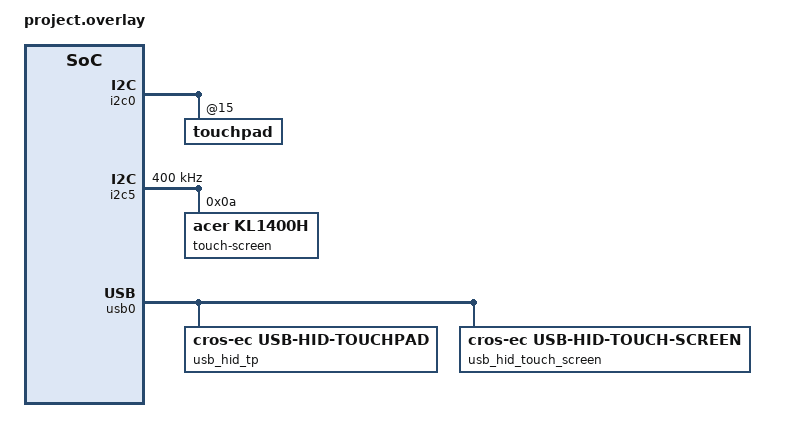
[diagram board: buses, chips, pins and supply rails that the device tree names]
/* Copyright 2024 The ChromiumOS Authors
 * Use of this source code is governed by a BSD-style license that can be
 * found in the LICENSE file.
 */

#include <cros/touchpad_hashes.dtsi>

#include "../gpio.dtsi"
#include "../uart.dtsi"
#include "../i2c.dtsi"
#include "../interrupts.dtsi"
#include "../keyboard.dtsi"
#include "../pwm.dtsi"
#include "../rwsig.dtsi"

&i2c0 {
	touchpad@15 {
		logical-max-x = <2721>;
		logical-max-y = <1291>;
		physical-max-x = <864>;
		physical-max-y = <410>;
	};
};

&i2c5 {
	status = "okay";
	label = "I2C_TOUCH_SCREEN";

	pinctrl-0 = < &i2c5_clk_gpe1_default &i2c5_data_gpe2_default>;
	pinctrl-names = "default";

	clock-frequency = <I2C_BITRATE_FAST>;
	data-hold-time = <10>;

	touch-screen@a {
		compatible = "acer,kl1400h";
		status = "okay";
		reg = <0xa>;
		irq = <&int_touch_screen>;
	};
};

&touchpad_fw_hashes {
	size = <((65536 / 1024) * 32)>;
};


/ {
	aliases {
		usb-hid-tp = &usb_hid_tp;
		usb-hid-touch-screen = &usb_hid_touch_screen;
	};
};

&uart2 {
	status = "disabled";

	one_wire_uart: one-wire-uart {
		status = "disabled";
	};
};

&ite_uart2_wrapper {
	status = "disabled";
};

zephyr_udc0: &usb0 {
	status = "okay";
	pinctrl-0 = <&usb0_dm_gph5_default
		     &usb0_dp_gph6_default>;
	pinctrl-names = "default";

	usb_hid_tp: usb-hid-tp {
		compatible = "cros-ec,usb-hid-touchpad";

		logical-max-x = <2721>;
		logical-max-y = <1291>;
		physical-max-x = <864>;
		physical-max-y = <410>;
		max-pressure = <255>;
	};

	usb_hid_touch_screen: usb-hid-touch-screen {
		compatible = "cros-ec,usb-hid-touch-screen";
		reportid-max-count = <0x1c>; /* TODO: CHECKME */
	};

	hid_kb_dev: hid-kb-dev {
		compatible = "zephyr,hid-device";
		label = "spikyrock keyboard";
		protocol-code = "keyboard";
		out-report-size = <64>;
		out-polling-period-us = <1000>;
		in-report-size = <64>;
		in-polling-period-us = <1000>;
	};

	hid_tp_dev: hid-tp-dev {
		compatible = "zephyr,hid-device";
		label = "spikyrock touchpad";
		protocol-code = "mouse";
		/* device cert (256 bytes) + some overhead */
		out-report-size = <280>;
		out-polling-period-us = <1000>;
		in-report-size = <64>;
		in-polling-period-us = <1000>;
	};

	hid_touch_screen_dev: hid-touch-screen-dev {
		compatible = "zephyr,hid-device";
		label = "spikyrock touch screen";
		protocol-code = "none";
		out-report-size = <64>; /* TODO: CHECK-ME */
		out-polling-period-us = <1000>;
		in-report-size = <64>;
		in-polling-period-us = <1000>;
	};
};
